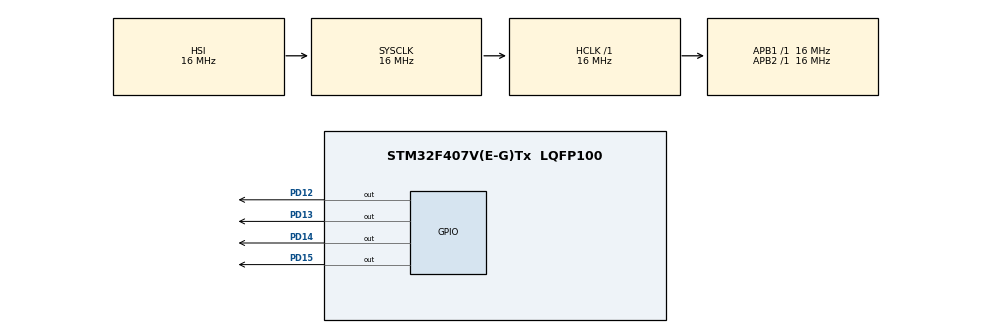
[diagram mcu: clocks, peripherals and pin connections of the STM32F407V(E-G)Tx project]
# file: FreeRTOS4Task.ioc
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Mcu.Family=STM32F4
Mcu.Name=STM32F407V(E-G)Tx
Mcu.Package=LQFP100
NVIC.PriorityGroup=NVIC_PRIORITYGROUP_4
NVIC.TIM6_DAC_IRQn=true\:15\:0\:false\:false\:true\:false\:true\:true
NVIC.TimeBase=TIM6_DAC_IRQn
NVIC.TimeBaseIP=TIM6
PD12.Signal=GPIO_Output
PD13.Signal=GPIO_Output
PD14.Signal=GPIO_Output
PD15.Signal=GPIO_Output
PH0-OSC_IN.Mode=HSE-External-Oscillator
PH0-OSC_IN.Signal=RCC_OSC_IN
PH1-OSC_OUT.Mode=HSE-External-Oscillator
PH1-OSC_OUT.Signal=RCC_OSC_OUT
ProjectManager.HeapSize=0x200
ProjectManager.StackSize=0x400
ProjectManager.TargetToolchain=STM32CubeIDE
RCC.AHBFreq_Value=16000000
RCC.APB1Freq_Value=16000000
RCC.APB2Freq_Value=16000000
RCC.CortexFreq_Value=16000000
RCC.HSE_VALUE=25000000
RCC.HSI_VALUE=16000000
RCC.LSE_VALUE=32768
RCC.SYSCLKFreq_VALUE=16000000
RCC.VCOOutputFreq_Value=192000000
VP_SYS_VS_tim6.Mode=TIM6
board=custom

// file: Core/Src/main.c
/* USER CODE BEGIN Header */
/**
  ******************************************************************************
  * @file           : main.c
  * @brief          : Main program body
  ******************************************************************************
  * @attention
  *
  * Copyright (c) 2023 STMicroelectronics.
  * All rights reserved.
  *
  * This software is licensed under terms that can be found in the LICENSE file
  * in the root directory of this software component.
  * If no LICENSE file comes with this software, it is provided AS-IS.
  *
  ******************************************************************************
  */
/* USER CODE END Header */
#include "main.h"

/* USER CODE BEGIN Includes */
#include <stdio.h>
#include "FreeRTOS.h"
#include "task.h"
/* USER CODE END Includes */

/* USER CODE BEGIN PV */
#define DWT_CTRL (*(volatile uint32_t*) 0xE0001000)   // for segger sysview config
/* USER CODE END PV */

void SystemClock_Config(void);
static void MX_GPIO_Init(void);
/* USER CODE BEGIN PFP */

static void led_green_handler (void* parameters);
static void led_orange_handler (void* parameters);
static void led_red_handler (void* parameters);
static void led_blue_handler (void* parameters);

extern void SEGGER_UART_init(uint32_t);

/* USER CODE END PFP */

int main(void)
{
  /* USER CODE BEGIN 1 */
	TaskHandle_t task1_handle;
	TaskHandle_t task2_handle;
	TaskHandle_t task3_handle;
	TaskHandle_t task4_handle;
	BaseType_t status;
  /* USER CODE END 1 */

  /* MCU Configuration--------------------------------------------------------*/

  /* Reset of all peripherals, Initializes the Flash interface and the Systick. */
  HAL_Init();

  /* Configure the system clock */
  SystemClock_Config();

  /* Initialize all configured peripherals */
  MX_GPIO_Init();
  /* USER CODE BEGIN 2 */

  SEGGER_UART_init(500000);

  //CYCLCNT enable
  DWT_CTRL |= ( 1 << 0);

  SEGGER_SYSVIEW_Conf();

  status = xTaskCreate(led_green_handler, "LED_green_task", 200, NULL, 2, &task1_handle);

  configASSERT(status == pdPASS);

  status = xTaskCreate(led_red_handler, "LED_red_task", 200,NULL, 2, &task2_handle);

  configASSERT(status == pdPASS);

  status = xTaskCreate(led_orange_handler, "LED_orange_task", 200, NULL, 2, &task3_handle);

  configASSERT(status == pdPASS);

  status = xTaskCreate(led_blue_handler, "LED_blue_task", 200, NULL, 2, &task4_handle);

    configASSERT(status == pdPASS);

  //start the freeRTOS scheduler
  vTaskStartScheduler();
  /* USER CODE END 2 */

  /* Infinite loop */
  while (1)
  {

  }
}

void SystemClock_Config(void)
{
  RCC_OscInitTypeDef RCC_OscInitStruct = {0};
  RCC_ClkInitTypeDef RCC_ClkInitStruct = {0};

  /** Configure the main internal regulator output voltage
  */
  __HAL_RCC_PWR_CLK_ENABLE();
  __HAL_PWR_VOLTAGESCALING_CONFIG(PWR_REGULATOR_VOLTAGE_SCALE1);

  /** Initializes the RCC Oscillators according to the specified parameters
  * in the RCC_OscInitTypeDef structure.
  */
  RCC_OscInitStruct.OscillatorType = RCC_OSCILLATORTYPE_HSI;
  RCC_OscInitStruct.HSIState = RCC_HSI_ON;
  RCC_OscInitStruct.HSICalibrationValue = RCC_HSICALIBRATION_DEFAULT;
  RCC_OscInitStruct.PLL.PLLState = RCC_PLL_NONE;
  if (HAL_RCC_OscConfig(&RCC_OscInitStruct) != HAL_OK)
  {
    Error_Handler();
  }

  /** Initializes the CPU, AHB and APB buses clocks
  */
  RCC_ClkInitStruct.ClockType = RCC_CLOCKTYPE_HCLK|RCC_CLOCKTYPE_SYSCLK
                              |RCC_CLOCKTYPE_PCLK1|RCC_CLOCKTYPE_PCLK2;
  RCC_ClkInitStruct.SYSCLKSource = RCC_SYSCLKSOURCE_HSI;
  RCC_ClkInitStruct.AHBCLKDivider = RCC_SYSCLK_DIV1;
  RCC_ClkInitStruct.APB1CLKDivider = RCC_HCLK_DIV1;
  RCC_ClkInitStruct.APB2CLKDivider = RCC_HCLK_DIV1;

  if (HAL_RCC_ClockConfig(&RCC_ClkInitStruct, FLASH_LATENCY_0) != HAL_OK)
  {
    Error_Handler();
  }
}

static void MX_GPIO_Init(void)
{
  GPIO_InitTypeDef GPIO_InitStruct = {0};

  /* GPIO Ports Clock Enable */
  __HAL_RCC_GPIOH_CLK_ENABLE();
  __HAL_RCC_GPIOD_CLK_ENABLE();

  /*Configure GPIO pin Output Level */
  HAL_GPIO_WritePin(GPIOD, GPIO_PIN_12|GPIO_PIN_13|GPIO_PIN_14|GPIO_PIN_15, GPIO_PIN_RESET);

  /*Configure GPIO pins : PD12 PD13 PD14 PD15 */
  GPIO_InitStruct.Pin = GPIO_PIN_12|GPIO_PIN_13|GPIO_PIN_14|GPIO_PIN_15;
  GPIO_InitStruct.Mode = GPIO_MODE_OUTPUT_PP;
  GPIO_InitStruct.Pull = GPIO_NOPULL;
  GPIO_InitStruct.Speed = GPIO_SPEED_FREQ_LOW;
  HAL_GPIO_Init(GPIOD, &GPIO_InitStruct);

}

/* USER CODE BEGIN 4 */
static void led_green_handler(void* parameters)
{
	TickType_t last_wackup_time;
	last_wackup_time = xTaskGetTickCount();

	while(1)
	{
		SEGGER_SYSVIEW_PrintfTarget("Toggling green LED");
		HAL_GPIO_TogglePin(GPIOD, GPIO_PIN_12);
		vTaskDelayUntil(&last_wackup_time, pdMS_TO_TICKS(1600));
	}

}

static void led_orange_handler(void* parameters)
{
	TickType_t last_wackup_time;
	last_wackup_time = xTaskGetTickCount();

	while(1)
	{
		SEGGER_SYSVIEW_PrintfTarget("Toggling orange LED");
		HAL_GPIO_TogglePin(GPIOD, GPIO_PIN_13);
		vTaskDelayUntil(&last_wackup_time, pdMS_TO_TICKS(1200));
	}

}

static void led_red_handler(void* parameters)
{
	TickType_t last_wackup_time;
	last_wackup_time = xTaskGetTickCount();

	while(1)
	{
		SEGGER_SYSVIEW_PrintfTarget("Toggling red LED");
		HAL_GPIO_TogglePin(GPIOD, GPIO_PIN_14);
		vTaskDelayUntil(&last_wackup_time, pdMS_TO_TICKS(800));
	}

}

static void led_blue_handler(void* parameters)
{
	TickType_t last_wackup_time;
	last_wackup_time = xTaskGetTickCount();

	while(1)
	{
		SEGGER_SYSVIEW_PrintfTarget("Toggling blue LED");
		HAL_GPIO_TogglePin(GPIOD, GPIO_PIN_15);
		vTaskDelayUntil(&last_wackup_time, pdMS_TO_TICKS(400));
	}

}

/* USER CODE END 4 */

void HAL_TIM_PeriodElapsedCallback(TIM_HandleTypeDef *htim)
{
  if (htim->Instance == TIM6) {
    HAL_IncTick();
  }
}

void Error_Handler(void)
{
  __disable_irq();
  while (1)
  {
  }
}
